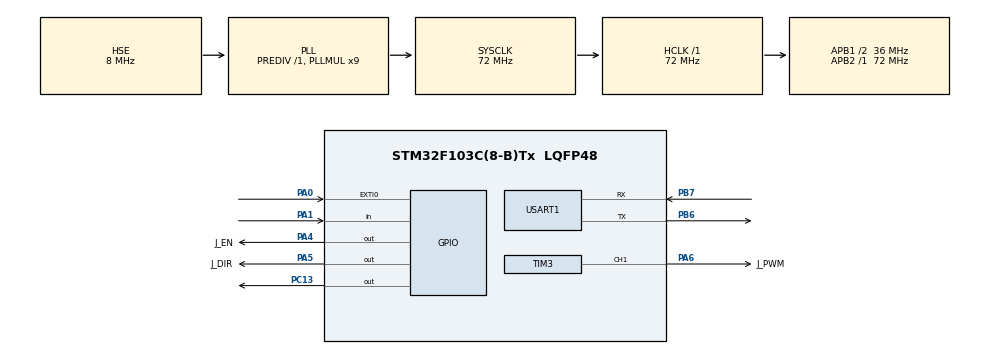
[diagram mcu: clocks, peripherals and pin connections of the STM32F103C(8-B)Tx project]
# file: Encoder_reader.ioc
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Dma.Request0=USART1_RX
Dma.USART1_RX.0.Direction=DMA_PERIPH_TO_MEMORY
Dma.USART1_RX.0.Instance=DMA1_Channel5
Dma.USART1_RX.0.MemDataAlignment=DMA_MDATAALIGN_BYTE
Dma.USART1_RX.0.MemInc=DMA_MINC_ENABLE
Dma.USART1_RX.0.Mode=DMA_NORMAL
Dma.USART1_RX.0.PeriphDataAlignment=DMA_PDATAALIGN_BYTE
Dma.USART1_RX.0.PeriphInc=DMA_PINC_DISABLE
Dma.USART1_RX.0.Priority=DMA_PRIORITY_LOW
Mcu.Family=STM32F1
Mcu.Name=STM32F103C(8-B)Tx
Mcu.Package=LQFP48
NVIC.DMA1_Channel5_IRQn=true\:1\:0\:true\:false\:true\:false\:true\:true
NVIC.EXTI0_IRQn=true\:0\:0\:false\:false\:true\:true\:true\:true
NVIC.PriorityGroup=NVIC_PRIORITYGROUP_4
NVIC.TIM4_IRQn=true\:2\:0\:true\:false\:true\:true\:true\:true
PA0-WKUP.Signal=GPXTI0
PA1.Signal=GPIO_Input
PA13.Mode=Serial_Wire
PA13.Signal=SYS_JTMS-SWDIO
PA14.Mode=Serial_Wire
PA14.Signal=SYS_JTCK-SWCLK
PA4.GPIO_Label=J_EN
PA4.PinState=GPIO_PIN_SET
PA4.Signal=GPIO_Output
PA5.GPIO_Label=J_DIR
PA5.Signal=GPIO_Output
PA6.GPIO_Label=J_PWM
PA6.Signal=S_TIM3_CH1
PB6.Mode=Asynchronous
PB6.Signal=USART1_TX
PB7.Mode=Asynchronous
PB7.Signal=USART1_RX
PC13-TAMPER-RTC.Signal=GPIO_Output
PD0-OSC_IN.Mode=HSE-External-Oscillator
PD0-OSC_IN.Signal=RCC_OSC_IN
PD1-OSC_OUT.Mode=HSE-External-Oscillator
PD1-OSC_OUT.Signal=RCC_OSC_OUT
ProjectManager.HeapSize=0x200
ProjectManager.StackSize=0x400
ProjectManager.TargetToolchain=STM32CubeIDE
RCC.AHBFreq_Value=72000000
RCC.APB1CLKDivider=RCC_HCLK_DIV2
RCC.APB1Freq_Value=36000000
RCC.APB1TimFreq_Value=72000000
RCC.APB2Freq_Value=72000000
RCC.APB2TimFreq_Value=72000000
RCC.HCLKFreq_Value=72000000
RCC.PLLMUL=RCC_PLL_MUL9
RCC.PLLSourceVirtual=RCC_PLLSOURCE_HSE
RCC.SYSCLKFreq_VALUE=72000000
RCC.SYSCLKSource=RCC_SYSCLKSOURCE_PLLCLK
RCC.USBFreq_Value=72000000
SH.S_TIM3_CH1.0=TIM3_CH1,PWM Generation1 CH1
TIM3.Channel-PWM\ Generation1\ CH1=TIM_CHANNEL_1
TIM3.OCFastMode_PWM-PWM\ Generation1\ CH1=TIM_OCFAST_ENABLE
TIM4.Period=999
TIM4.Prescaler=71
USART1.VirtualMode=VM_ASYNC
VP_TIM4_VS_ClockSourceINT.Mode=Internal
board=custom

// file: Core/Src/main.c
/* USER CODE BEGIN Header */
/**
  ******************************************************************************
  * @file           : main.c
  * @brief          : Main program body
  ******************************************************************************
  * @attention
  *
  * Copyright (c) 2022 STMicroelectronics.
  * All rights reserved.
  *
  * This software is licensed under terms that can be found in the LICENSE file
  * in the root directory of this software component.
  * If no LICENSE file comes with this software, it is provided AS-IS.
  *
  ******************************************************************************
  */
/* USER CODE END Header */
#include "main.h"

/* USER CODE BEGIN Includes */
#include <stdio.h>
#include <assert.h>
#include <math.h>
/* USER CODE END Includes */

/* USER CODE BEGIN PTD */
typedef struct PID_t {
	float error;		// Current error value.
	float esum;			// Sum of error values.
	float esumLimit;	// Limit for integral.
	float ediff;		// First difference of error values.
	float Kp, Ki, Kd;	// Control constants.
	float control;		// Control signal.
} PID_t;

/* USER CODE END PTD */

/* USER CODE BEGIN PD */
#define COUNTS_PER_CM 0.000087f
/* USER CODE END PD */

 TIM_HandleTypeDef htim3;
TIM_HandleTypeDef htim4;

UART_HandleTypeDef huart1;
DMA_HandleTypeDef hdma_usart1_rx;

/* USER CODE BEGIN PV */

char txBuffer[256];
char rxBuffer[7];
uint8_t transmitFlag=0;
uint8_t armed=0;
uint8_t targetUpdate=0;
float dummy = 2.45;
double Amp =0;

/* USER CODE END PV */

void SystemClock_Config(void);
static void MX_GPIO_Init(void);
static void MX_DMA_Init(void);
static void MX_USART1_UART_Init(void);
static void MX_TIM3_Init(void);
static void MX_TIM4_Init(void);

/* USER CODE BEGIN 0 */

uint32_t counter = 0;
int16_t count = 0;
int position =0;
float positionf;
double target=0;
double targetCM=0;
double freq= 1.15f;
int ret;
int elapsedTime=0;

char resetArr[7]="reset!!";

PID_t pid = {
		.Kp = 50.0f,
		.Ki = 0.5f,
		.Kd = 0.0f,
		.esumLimit = 60000.0f
};

float PID_update(PID_t *pid, float error)
{
	assert(pid);

	pid->ediff = error - pid->error;
	pid->esum += error;
	if(fabs(pid->esum)>pid->esumLimit) pid->esum=pid->esumLimit;
	pid->error = error;

	return (pid->control = (pid->Kp * pid->error) + (pid->Ki * pid->esum) + (pid->Kd * pid->ediff));
}
void PID_reset(PID_t *pid){
	assert(pid);

	pid->esum=0;
}

void setPwm(float control)
{
	float fCCR;
	uint16_t u16CCR;

	fCCR = fabsf(control);

	if (fCCR > ((float)0xFFF0))
	{
		u16CCR = 0xFFF0;
	}
	else
	{
		u16CCR = (uint16_t)fCCR;
	}

	/**/ if (control > 0.0f)
	{
		HAL_GPIO_WritePin(J_DIR_GPIO_Port, J_DIR_Pin, GPIO_PIN_SET);
		HAL_GPIO_WritePin(LED_GPIO_Port, LED_Pin, GPIO_PIN_SET);
	}
	else if (control < 0.0f)
	{
		HAL_GPIO_WritePin(J_DIR_GPIO_Port, J_DIR_Pin, GPIO_PIN_RESET);
		HAL_GPIO_WritePin(LED_GPIO_Port, LED_Pin, GPIO_PIN_RESET);
	}
	else
	{
		u16CCR = 0;
	}
	TIM3->CCR1 = u16CCR;
}

void HAL_UART_RxCpltCallback(UART_HandleTypeDef *huart){
	int detect = 1;
	for(int i =0;i<7;i++){
		if(rxBuffer[i] != resetArr[i]){
			detect = 0;
			break;
		}
	}
	if(detect){
		elapsedTime=0;
		targetCM=0;
		target =0;
	}
	else{
		sscanf(rxBuffer,"%lf",&targetCM); // For cm input, driving by uart
		targetUpdate=1;
		//sscanf(rxBuffer,"%lf",&freq); // For frequency update, driving by interrupt (EXTI8)
		//memset(rxBuffer, 0, 6 * (sizeof rxBuffer[0]) );
	}

	HAL_UART_Receive_DMA(&huart1,(uint8_t *)rxBuffer,7);
	PID_reset(&pid);
	transmitFlag=1;
}

/* USER CODE END 0 */

int main(void)
{

  /* MCU Configuration--------------------------------------------------------*/

  /* Reset of all peripherals, Initializes the Flash interface and the Systick. */
  HAL_Init();

  /* Configure the system clock */
  SystemClock_Config();

  /* Initialize all configured peripherals */
  MX_GPIO_Init();
  MX_DMA_Init();
  MX_USART1_UART_Init();
  MX_TIM3_Init();
  MX_TIM4_Init();
  /* USER CODE BEGIN 2 */

  //HAL_TIM_Encoder_Start_IT(&htim2, TIM_CHANNEL_ALL);
  HAL_UART_Receive_DMA(&huart1,(uint8_t *)rxBuffer,7);
  Amp = (1/(512.0*(624.0/35.0)))*8.0; // mm_per_step

  HAL_TIM_PWM_Start(&htim3, TIM_CHANNEL_1);
  HAL_TIM_Base_Start_IT(&htim4);

  //setPwm(65500);

  /* USER CODE END 2 */

  /* Infinite loop */
  while (1)
  {

    /* USER CODE BEGIN 3 */

	  // Update Target Point Every UART RECEIVE Interrupt
	  if(targetUpdate){
		  PID_reset(&pid);
		  target=(10/Amp)*targetCM; // Using target point(cm) from UART
		  //target = (10*(1/Amp))/(2*M_PI*freq)*sin(2*M_PI*freq*(float)elapsedTime); // Using EXTI Int
		  targetUpdate = 0;
	  }

	  // PID Calculation and PWM Generation
	  if(armed){
		setPwm(PID_update(&pid,  (float)target - position));
		armed =0;
	  }

		// UART Data Transmit
		if(transmitFlag){
			positionf= position;

			ret =snprintf(txBuffer, sizeof txBuffer, "\f %.4f %.4f\n\r", positionf, target);

			if (ret < 0) {
					return -1; /* Failed*/
			}
			if (ret >= sizeof txBuffer) {
				return 1;/* Result was truncated - resize the buffer and retry.*/
			}
			HAL_UART_Transmit(&huart1,(uint8_t *)txBuffer,ret,100);

			transmitFlag=0;

		}

//		if(!armed){
//			if(!HAL_GPIO_ReadPin(GPIOB, GPIO_PIN_8)){
//				elapsedTime=0;
//				TIM4->CNT=0;
//				transmitFlag=1;
//				armed = 1;
//			}
//		}
  }
  /* USER CODE END 3 */
}

void SystemClock_Config(void)
{
  RCC_OscInitTypeDef RCC_OscInitStruct = {0};
  RCC_ClkInitTypeDef RCC_ClkInitStruct = {0};

  /** Initializes the RCC Oscillators according to the specified parameters
  * in the RCC_OscInitTypeDef structure.
  */
  RCC_OscInitStruct.OscillatorType = RCC_OSCILLATORTYPE_HSE;
  RCC_OscInitStruct.HSEState = RCC_HSE_ON;
  RCC_OscInitStruct.HSEPredivValue = RCC_HSE_PREDIV_DIV1;
  RCC_OscInitStruct.HSIState = RCC_HSI_ON;
  RCC_OscInitStruct.PLL.PLLState = RCC_PLL_ON;
  RCC_OscInitStruct.PLL.PLLSource = RCC_PLLSOURCE_HSE;
  RCC_OscInitStruct.PLL.PLLMUL = RCC_PLL_MUL9;
  if (HAL_RCC_OscConfig(&RCC_OscInitStruct) != HAL_OK)
  {
    Error_Handler();
  }

  /** Initializes the CPU, AHB and APB buses clocks
  */
  RCC_ClkInitStruct.ClockType = RCC_CLOCKTYPE_HCLK|RCC_CLOCKTYPE_SYSCLK
                              |RCC_CLOCKTYPE_PCLK1|RCC_CLOCKTYPE_PCLK2;
  RCC_ClkInitStruct.SYSCLKSource = RCC_SYSCLKSOURCE_PLLCLK;
  RCC_ClkInitStruct.AHBCLKDivider = RCC_SYSCLK_DIV1;
  RCC_ClkInitStruct.APB1CLKDivider = RCC_HCLK_DIV2;
  RCC_ClkInitStruct.APB2CLKDivider = RCC_HCLK_DIV1;

  if (HAL_RCC_ClockConfig(&RCC_ClkInitStruct, FLASH_LATENCY_2) != HAL_OK)
  {
    Error_Handler();
  }
}

static void MX_TIM3_Init(void)
{

  TIM_MasterConfigTypeDef sMasterConfig = {0};
  TIM_OC_InitTypeDef sConfigOC = {0};

  htim3.Instance = TIM3;
  htim3.Init.Prescaler = 0;
  htim3.Init.CounterMode = TIM_COUNTERMODE_UP;
  htim3.Init.Period = 65535;
  htim3.Init.ClockDivision = TIM_CLOCKDIVISION_DIV1;
  htim3.Init.AutoReloadPreload = TIM_AUTORELOAD_PRELOAD_DISABLE;
  if (HAL_TIM_PWM_Init(&htim3) != HAL_OK)
  {
    Error_Handler();
  }
  sMasterConfig.MasterOutputTrigger = TIM_TRGO_RESET;
  sMasterConfig.MasterSlaveMode = TIM_MASTERSLAVEMODE_DISABLE;
  if (HAL_TIMEx_MasterConfigSynchronization(&htim3, &sMasterConfig) != HAL_OK)
  {
    Error_Handler();
  }
  sConfigOC.OCMode = TIM_OCMODE_PWM1;
  sConfigOC.Pulse = 0;
  sConfigOC.OCPolarity = TIM_OCPOLARITY_HIGH;
  sConfigOC.OCFastMode = TIM_OCFAST_ENABLE;
  if (HAL_TIM_PWM_ConfigChannel(&htim3, &sConfigOC, TIM_CHANNEL_1) != HAL_OK)
  {
    Error_Handler();
  }
  HAL_TIM_MspPostInit(&htim3);

}

static void MX_TIM4_Init(void)
{

  TIM_ClockConfigTypeDef sClockSourceConfig = {0};
  TIM_MasterConfigTypeDef sMasterConfig = {0};

  htim4.Instance = TIM4;
  htim4.Init.Prescaler = 71;
  htim4.Init.CounterMode = TIM_COUNTERMODE_UP;
  htim4.Init.Period = 999;
  htim4.Init.ClockDivision = TIM_CLOCKDIVISION_DIV1;
  htim4.Init.AutoReloadPreload = TIM_AUTORELOAD_PRELOAD_DISABLE;
  if (HAL_TIM_Base_Init(&htim4) != HAL_OK)
  {
    Error_Handler();
  }
  sClockSourceConfig.ClockSource = TIM_CLOCKSOURCE_INTERNAL;
  if (HAL_TIM_ConfigClockSource(&htim4, &sClockSourceConfig) != HAL_OK)
  {
    Error_Handler();
  }
  sMasterConfig.MasterOutputTrigger = TIM_TRGO_RESET;
  sMasterConfig.MasterSlaveMode = TIM_MASTERSLAVEMODE_DISABLE;
  if (HAL_TIMEx_MasterConfigSynchronization(&htim4, &sMasterConfig) != HAL_OK)
  {
    Error_Handler();
  }

}

static void MX_USART1_UART_Init(void)
{

  huart1.Instance = USART1;
  huart1.Init.BaudRate = 115200;
  huart1.Init.WordLength = UART_WORDLENGTH_8B;
  huart1.Init.StopBits = UART_STOPBITS_1;
  huart1.Init.Parity = UART_PARITY_NONE;
  huart1.Init.Mode = UART_MODE_TX_RX;
  huart1.Init.HwFlowCtl = UART_HWCONTROL_NONE;
  huart1.Init.OverSampling = UART_OVERSAMPLING_16;
  if (HAL_UART_Init(&huart1) != HAL_OK)
  {
    Error_Handler();
  }

}

static void MX_DMA_Init(void)
{

  /* DMA controller clock enable */
  __HAL_RCC_DMA1_CLK_ENABLE();

  /* DMA interrupt init */
  /* DMA1_Channel5_IRQn interrupt configuration */
  HAL_NVIC_SetPriority(DMA1_Channel5_IRQn, 1, 0);
  HAL_NVIC_EnableIRQ(DMA1_Channel5_IRQn);

}

static void MX_GPIO_Init(void)
{
  GPIO_InitTypeDef GPIO_InitStruct = {0};

  /* GPIO Ports Clock Enable */
  __HAL_RCC_GPIOC_CLK_ENABLE();
  __HAL_RCC_GPIOD_CLK_ENABLE();
  __HAL_RCC_GPIOA_CLK_ENABLE();
  __HAL_RCC_GPIOB_CLK_ENABLE();

  /*Configure GPIO pin Output Level */
  HAL_GPIO_WritePin(GPIOC, GPIO_PIN_13, GPIO_PIN_RESET);

  /*Configure GPIO pin Output Level */
  HAL_GPIO_WritePin(J_EN_GPIO_Port, J_EN_Pin, GPIO_PIN_SET);

  /*Configure GPIO pin Output Level */
  HAL_GPIO_WritePin(J_DIR_GPIO_Port, J_DIR_Pin, GPIO_PIN_RESET);

  /*Configure GPIO pin : PC13 */
  GPIO_InitStruct.Pin = GPIO_PIN_13;
  GPIO_InitStruct.Mode = GPIO_MODE_OUTPUT_PP;
  GPIO_InitStruct.Pull = GPIO_NOPULL;
  GPIO_InitStruct.Speed = GPIO_SPEED_FREQ_LOW;
  HAL_GPIO_Init(GPIOC, &GPIO_InitStruct);

  /*Configure GPIO pin : PA0 */
  GPIO_InitStruct.Pin = GPIO_PIN_0;
  GPIO_InitStruct.Mode = GPIO_MODE_IT_RISING;
  GPIO_InitStruct.Pull = GPIO_NOPULL;
  HAL_GPIO_Init(GPIOA, &GPIO_InitStruct);

  /*Configure GPIO pin : PA1 */
  GPIO_InitStruct.Pin = GPIO_PIN_1;
  GPIO_InitStruct.Mode = GPIO_MODE_INPUT;
  GPIO_InitStruct.Pull = GPIO_NOPULL;
  HAL_GPIO_Init(GPIOA, &GPIO_InitStruct);

  /*Configure GPIO pins : J_EN_Pin J_DIR_Pin */
  GPIO_InitStruct.Pin = J_EN_Pin|J_DIR_Pin;
  GPIO_InitStruct.Mode = GPIO_MODE_OUTPUT_PP;
  GPIO_InitStruct.Pull = GPIO_NOPULL;
  GPIO_InitStruct.Speed = GPIO_SPEED_FREQ_LOW;
  HAL_GPIO_Init(GPIOA, &GPIO_InitStruct);

  /* EXTI interrupt init*/
  HAL_NVIC_SetPriority(EXTI0_IRQn, 0, 0);
  HAL_NVIC_EnableIRQ(EXTI0_IRQn);

}

void Error_Handler(void)
{
  __disable_irq();
  while (1)
  {
  }
}
